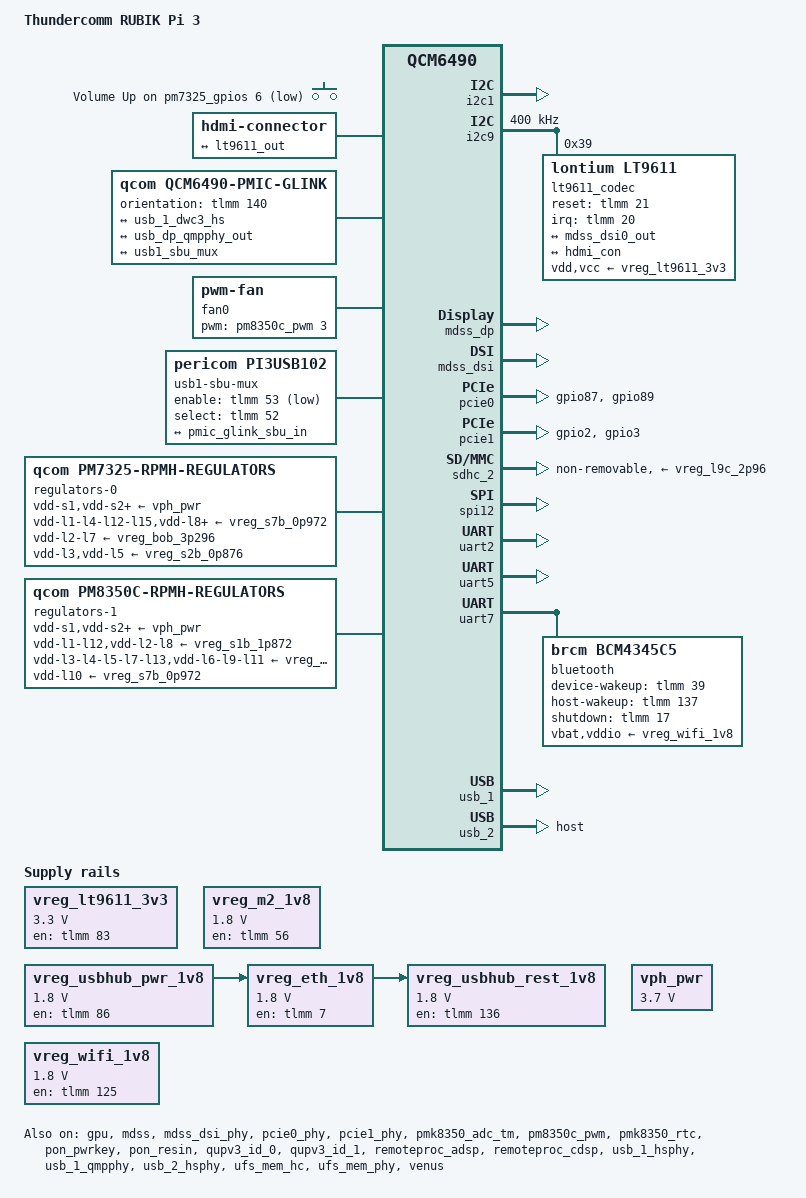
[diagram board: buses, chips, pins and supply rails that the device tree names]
// SPDX-License-Identifier: BSD-3-Clause
/*
 * Copyright (c) 2025, Thundercomm All rights reserved.
 */

/dts-v1/;

/* PM7250B is configured to use SID8/9 */
#define PM7250B_SID 8
#define PM7250B_SID1 9

#include <dt-bindings/iio/qcom,spmi-adc7-pmk8350.h>
#include <dt-bindings/iio/qcom,spmi-adc7-pm7325.h>
#include <dt-bindings/leds/common.h>
#include <dt-bindings/pinctrl/qcom,pmic-gpio.h>
#include <dt-bindings/regulator/qcom,rpmh-regulator.h>
#include "kodiak.dtsi"
#include "pm7250b.dtsi"
#include "pm7325.dtsi"
#include "pm8350c.dtsi" /* PM7350C */
#include "pmk8350.dtsi" /* PMK7325 */

/delete-node/ &adsp_mem;
/delete-node/ &cdsp_mem;
/delete-node/ &ipa_fw_mem;
/delete-node/ &mpss_mem;
/delete-node/ &remoteproc_mpss;
/delete-node/ &remoteproc_wpss;
/delete-node/ &rmtfs_mem;
/delete-node/ &video_mem;
/delete-node/ &wifi;
/delete-node/ &wlan_ce_mem;
/delete-node/ &wlan_fw_mem;
/delete-node/ &wpss_mem;
/delete-node/ &xbl_mem;

/ {
	model = "Thundercomm RUBIK Pi 3";
	compatible = "thundercomm,rubikpi3", "qcom,qcm6490";
	chassis-type = "embedded";

	aliases {
		serial0 = &uart5;
	};

	chosen {
		stdout-path = "serial0:115200n8";
	};

	gpio-keys {
		compatible = "gpio-keys";

		pinctrl-0 = <&kypd_vol_up_n>;
		pinctrl-names = "default";

		key-volume-up {
			label = "Volume Up";
			gpios = <&pm7325_gpios 6 GPIO_ACTIVE_LOW>;
			linux,code = <KEY_VOLUMEUP>;
			linux,can-disable;
		};
	};

	hdmi-connector {
		compatible = "hdmi-connector";
		type = "a";

		port {
			hdmi_con: endpoint {
				remote-endpoint = <&lt9611_out>;
			};
		};
	};

	pmic-glink {
		compatible = "qcom,qcm6490-pmic-glink", "qcom,pmic-glink";

		#address-cells = <1>;
		#size-cells = <0>;
		orientation-gpios = <&tlmm 140 GPIO_ACTIVE_HIGH>;

		connector@0 {
			compatible = "usb-c-connector";
			reg = <0>;
			power-role = "dual";
			data-role = "dual";

			ports {
				#address-cells = <1>;
				#size-cells = <0>;

				port@0 {
					reg = <0>;

					pmic_glink_hs_in: endpoint {
						remote-endpoint = <&usb_1_dwc3_hs>;
					};
				};

				port@1 {
					reg = <1>;

					pmic_glink_ss_in: endpoint {
						remote-endpoint = <&usb_dp_qmpphy_out>;
					};
				};

				port@2 {
					reg = <2>;

					pmic_glink_sbu_in: endpoint {
						remote-endpoint = <&usb1_sbu_mux>;
					};
				};
			};
		};
	};

	fan0: pwm-fan {
		compatible = "pwm-fan";

		/* cooling level (0, 1, 2, 3) : (0% duty, 25% duty, 50% duty, 100% duty) */
		cooling-levels = <0 64 128 255>;
		#cooling-cells = <2>;
		pwms = <&pm8350c_pwm 3 1000000>;

		pinctrl-0 = <&fan_pwm_out_default>;
		pinctrl-names = "default";
	};

	vreg_eth_1v8: regulator-eth-1v8 {
		compatible = "regulator-fixed";

		regulator-name = "vreg_eth_1v8";
		regulator-min-microvolt = <1800000>;
		regulator-max-microvolt = <1800000>;
		regulator-enable-ramp-delay = <50000>;

		gpio = <&tlmm 7 GPIO_ACTIVE_HIGH>;
		enable-active-high;

		pinctrl-0 = <&usb_eth_power>;
		pinctrl-names = "default";

		vin-supply = <&vreg_usbhub_pwr_1v8>;
	};

	vreg_lt9611_3v3: regulator-lt9611-3v3 {
		compatible = "regulator-fixed";

		regulator-name = "vreg_lt9611_3v3";
		regulator-min-microvolt = <3300000>;
		regulator-max-microvolt = <3300000>;

		gpio = <&tlmm 83 GPIO_ACTIVE_HIGH>;
		enable-active-high;

		pinctrl-0 = <&lt9611_vcc_pin>;
		pinctrl-names = "default";
	};

	vreg_m2_1v8: regulator-m2-1v8 {
		compatible = "regulator-fixed";

		regulator-name = "vreg_m2_1v8";
		regulator-min-microvolt = <1800000>;
		regulator-max-microvolt = <1800000>;
		regulator-enable-ramp-delay = <50000>;

		gpio = <&tlmm 56 GPIO_ACTIVE_HIGH>;
		enable-active-high;

		pinctrl-0 = <&m2_vcc_pin>;
		pinctrl-names = "default";

		regulator-always-on;
		regulator-boot-on;
	};

	vreg_usbhub_pwr_1v8: regulator-usbhub-pwr-1v8 {
		compatible = "regulator-fixed";

		regulator-name = "vreg_usbhub_pwr_1v8";
		regulator-min-microvolt = <1800000>;
		regulator-max-microvolt = <1800000>;
		regulator-enable-ramp-delay = <50000>;

		gpio = <&tlmm 86 GPIO_ACTIVE_HIGH>;
		enable-active-high;

		pinctrl-0 = <&usbhub_power>;
		pinctrl-names = "default";

		regulator-always-on;
	};

	vreg_usbhub_rest_1v8: regulator-usbhub-rest-1v8 {
		compatible = "regulator-fixed";

		regulator-name = "vreg_usbhub_rest_1v8";
		regulator-min-microvolt = <1800000>;
		regulator-enable-ramp-delay = <50000>;
		regulator-max-microvolt = <1800000>;

		gpio = <&tlmm 136 GPIO_ACTIVE_HIGH>;
		enable-active-high;

		pinctrl-0 = <&usbhub_rest>;
		pinctrl-names = "default";

		vin-supply = <&vreg_eth_1v8>;

		regulator-always-on;
		regulator-boot-on;
	};

	vph_pwr: regulator-vph-pwr {
		compatible = "regulator-fixed";

		regulator-name = "vph_pwr";
		regulator-min-microvolt = <3700000>;
		regulator-max-microvolt = <3700000>;
	};

	vreg_wifi_1v8: regulator-wifi-1v8 {
		compatible = "regulator-fixed";

		regulator-name = "vreg_wifi_1v8";
		regulator-min-microvolt = <1800000>;
		regulator-max-microvolt = <1800000>;
		regulator-enable-ramp-delay = <50000>;

		gpio = <&tlmm 125 GPIO_ACTIVE_HIGH>;
		enable-active-high;

		pinctrl-0 = <&wifi_reset_active>,
			    <&wifi_host_wake>,
			    <&wifi_power_on>;
		pinctrl-names = "default";

		regulator-always-on;
	};

	reserved-memory {
		xbl_mem: xbl@80700000 {
			reg = <0x0 0x80700000 0x0 0x100000>;
			no-map;
		};

		cdsp_secure_heap_mem: cdsp-secure-heap@81800000 {
			reg = <0x0 0x81800000 0x0 0x1e00000>;
			no-map;
		};

		camera_mem: camera@84300000 {
			reg = <0x0 0x84300000 0x0 0x500000>;
			no-map;
		};

		adsp_mem: adsp@86100000 {
			reg = <0x0 0x86100000 0x0 0x2800000>;
			no-map;
		};

		cdsp_mem: cdsp@88900000 {
			reg = <0x0 0x88900000 0x0 0x1e00000>;
			no-map;
		};

		video_mem: video@8a700000 {
			reg = <0x0 0x8a700000 0x0 0x700000>;
			no-map;
		};

		cvp_mem: cvp@8ae00000 {
			reg = <0x0 0x8ae00000 0x0 0x500000>;
			no-map;
		};

		gpu_microcode_mem: gpu-microcode@8b31a000 {
			reg = <0x0 0x8b31a000 0x0 0x2000>;
			no-map;
		};

		tz_stat_mem: tz-stat@c0000000 {
			reg = <0x0 0xc0000000 0x0 0x100000>;
			no-map;
		};

		tags_mem: tags@c0100000 {
			reg = <0x0 0xc0100000 0x0 0x1200000>;
			no-map;
		};

		qtee_mem: qtee@c1300000 {
			reg = <0x0 0xc1300000 0x0 0x500000>;
			no-map;
		};

		trusted_apps_mem: trusted-apps@c1800000 {
			reg = <0x0 0xc1800000 0x0 0x1c00000>;
			no-map;
		};

		debug_vm_mem: debug-vm@d0600000 {
			reg = <0x0 0xd0600000 0x0 0x100000>;
			no-map;
		};
	};

	thermal-zones {
		quiet-thermal {
			thermal-sensors = <&pmk8350_adc_tm 1>;

			trips {
				active-config0 {
					temperature = <125000>;
					hysteresis = <1000>;
					type = "passive";
				};
			};
		};

		sdm-skin-thermal {
			thermal-sensors = <&pmk8350_adc_tm 3>;

			trips {
				active-config0 {
					temperature = <125000>;
					hysteresis = <1000>;
					type = "passive";
				};
			};
		};

		xo-thermal {
			thermal-sensors = <&pmk8350_adc_tm 0>;

			trips {
				active-config0 {
					temperature = <125000>;
					hysteresis = <1000>;
					type = "passive";
				};
			};
		};
	};

	usb1-sbu-mux {
		compatible = "pericom,pi3usb102", "gpio-sbu-mux";

		enable-gpios = <&tlmm 53 GPIO_ACTIVE_LOW>;
		select-gpios = <&tlmm 52 GPIO_ACTIVE_HIGH>;

		pinctrl-0 = <&usb1_sbu_default>;
		pinctrl-names = "default";

		mode-switch;
		orientation-switch;

		port {
			usb1_sbu_mux: endpoint {
				remote-endpoint = <&pmic_glink_sbu_in>;
			};
		};
	};
};

&apps_rsc {
	regulators-0 {
		compatible = "qcom,pm7325-rpmh-regulators";
		qcom,pmic-id = "b";

		vdd-s1-supply = <&vph_pwr>;
		vdd-s2-supply = <&vph_pwr>;
		vdd-s3-supply = <&vph_pwr>;
		vdd-s4-supply = <&vph_pwr>;
		vdd-s5-supply = <&vph_pwr>;
		vdd-s6-supply = <&vph_pwr>;
		vdd-s7-supply = <&vph_pwr>;
		vdd-s8-supply = <&vph_pwr>;
		vdd-l1-l4-l12-l15-supply = <&vreg_s7b_0p972>;
		vdd-l2-l7-supply = <&vreg_bob_3p296>;
		vdd-l3-supply = <&vreg_s2b_0p876>;
		vdd-l5-supply = <&vreg_s2b_0p876>;
		vdd-l6-l9-l10-supply = <&vreg_s8b_1p272>;
		vdd-l8-supply = <&vreg_s7b_0p972>;
		vdd-l11-l17-l18-l19-supply = <&vreg_s1b_1p872>;
		vdd-l13-supply = <&vreg_s7b_0p972>;
		vdd-l14-l16-supply = <&vreg_s8b_1p272>;

		vreg_s1b_1p872: smps1 {
			regulator-name = "vreg_s1b_1p872";
			regulator-min-microvolt = <1840000>;
			regulator-max-microvolt = <2040000>;
		};

		vreg_s2b_0p876: smps2 {
			regulator-name = "vreg_s2b_0p876";
			regulator-min-microvolt = <570070>;
			regulator-max-microvolt = <1050000>;
		};

		vreg_s7b_0p972: smps7 {
			regulator-name = "vreg_s7b_0p972";
			regulator-min-microvolt = <535000>;
			regulator-max-microvolt = <1120000>;
		};

		vreg_s8b_1p272: smps8 {
			regulator-name = "vreg_s8b_1p272";
			regulator-min-microvolt = <1200000>;
			regulator-max-microvolt = <1500000>;
			regulator-initial-mode = <RPMH_REGULATOR_MODE_RET>;
		};

		vreg_l1b_0p912: ldo1 {
			regulator-name = "vreg_l1b_0p912";
			regulator-min-microvolt = <825000>;
			regulator-max-microvolt = <925000>;
			regulator-initial-mode = <RPMH_REGULATOR_MODE_HPM>;
		};

		vreg_l2b_3p072: ldo2 {
			regulator-name = "vreg_l2b_3p072";
			regulator-min-microvolt = <2700000>;
			regulator-max-microvolt = <3544000>;
			regulator-initial-mode = <RPMH_REGULATOR_MODE_HPM>;
		};

		vreg_l3b_0p504: ldo3 {
			regulator-name = "vreg_l3b_0p504";
			regulator-min-microvolt = <312000>;
			regulator-max-microvolt = <910000>;
			regulator-initial-mode = <RPMH_REGULATOR_MODE_HPM>;
		};

		vreg_l4b_0p752: ldo4 {
			regulator-name = "vreg_l4b_0p752";
			regulator-min-microvolt = <752000>;
			regulator-max-microvolt = <820000>;
			regulator-initial-mode = <RPMH_REGULATOR_MODE_HPM>;
		};

		reg_l5b_0p752: ldo5 {
			regulator-name = "reg_l5b_0p752";
			regulator-min-microvolt = <552000>;
			regulator-max-microvolt = <832000>;
			regulator-initial-mode = <RPMH_REGULATOR_MODE_HPM>;
		};

		vreg_l6b_1p2: ldo6 {
			regulator-name = "vreg_l6b_1p2";
			regulator-min-microvolt = <1140000>;
			regulator-max-microvolt = <1260000>;
			regulator-initial-mode = <RPMH_REGULATOR_MODE_HPM>;
		};

		vreg_l7b_2p952: ldo7 {
			regulator-name = "vreg_l7b_2p952";
			regulator-min-microvolt = <2952000>;
			regulator-max-microvolt = <2952000>;
			regulator-initial-mode = <RPMH_REGULATOR_MODE_HPM>;
		};

		vreg_l8b_0p904: ldo8 {
			regulator-name = "vreg_l8b_0p904";
			regulator-min-microvolt = <870000>;
			regulator-max-microvolt = <970000>;
			regulator-initial-mode = <RPMH_REGULATOR_MODE_HPM>;
		};

		vreg_l9b_1p2: ldo9 {
			regulator-name = "vreg_l9b_1p2";
			regulator-min-microvolt = <1200000>;
			regulator-max-microvolt = <1200000>;
			regulator-initial-mode = <RPMH_REGULATOR_MODE_HPM>;
			regulator-allow-set-load;
			regulator-allowed-modes = <RPMH_REGULATOR_MODE_LPM
						   RPMH_REGULATOR_MODE_HPM>;
		};

		vreg_l11b_1p504: ldo11 {
			regulator-name = "vreg_l11b_1p504";
			regulator-min-microvolt = <1504000>;
			regulator-max-microvolt = <2000000>;
			regulator-initial-mode = <RPMH_REGULATOR_MODE_HPM>;
		};

		vreg_l12b_0p751: ldo12 {
			regulator-name = "vreg_l12b_0p751";
			regulator-min-microvolt = <751000>;
			regulator-max-microvolt = <824000>;
			regulator-initial-mode = <RPMH_REGULATOR_MODE_HPM>;
		};

		vreg_l13b_0p53: ldo13 {
			regulator-name = "vreg_l13b_0p53";
			regulator-min-microvolt = <530000>;
			regulator-max-microvolt = <824000>;
			regulator-initial-mode = <RPMH_REGULATOR_MODE_HPM>;
		};

		vreg_l14b_1p08: ldo14 {
			regulator-name = "vreg_l14b_1p08";
			regulator-min-microvolt = <1080000>;
			regulator-max-microvolt = <1304000>;
			regulator-initial-mode = <RPMH_REGULATOR_MODE_HPM>;
		};

		vreg_l15b_0p765: ldo15 {
			regulator-name = "vreg_l15b_0p765";
			regulator-min-microvolt = <765000>;
			regulator-max-microvolt = <1020000>;
			regulator-initial-mode = <RPMH_REGULATOR_MODE_HPM>;
		};

		vreg_l16b_1p1: ldo16 {
			regulator-name = "vreg_l16b_1p1";
			regulator-min-microvolt = <1100000>;
			regulator-max-microvolt = <1300000>;
			regulator-initial-mode = <RPMH_REGULATOR_MODE_HPM>;
		};

		vreg_l17b_1p7: ldo17 {
			regulator-name = "vreg_l17b_1p7";
			regulator-min-microvolt = <1700000>;
			regulator-max-microvolt = <1900000>;
			regulator-initial-mode = <RPMH_REGULATOR_MODE_HPM>;
		};

		vreg_l18b_1p8: ldo18 {
			regulator-name = "vreg_l18b_1p8";
			regulator-min-microvolt = <1800000>;
			regulator-max-microvolt = <2000000>;
			regulator-initial-mode = <RPMH_REGULATOR_MODE_HPM>;
		};

		vreg_l19b_1p8: ldo19 {
			regulator-name = "vreg_l19b_1p8";
			regulator-min-microvolt = <1800000>;
			regulator-max-microvolt = <2000000>;
			regulator-initial-mode = <RPMH_REGULATOR_MODE_HPM>;
		};
	};

	regulators-1 {
		compatible = "qcom,pm8350c-rpmh-regulators";
		qcom,pmic-id = "c";

		vdd-s1-supply = <&vph_pwr>;
		vdd-s2-supply = <&vph_pwr>;
		vdd-s3-supply = <&vph_pwr>;
		vdd-s4-supply = <&vph_pwr>;
		vdd-s5-supply = <&vph_pwr>;
		vdd-s6-supply = <&vph_pwr>;
		vdd-s7-supply = <&vph_pwr>;
		vdd-s8-supply = <&vph_pwr>;
		vdd-s9-supply = <&vph_pwr>;
		vdd-s10-supply = <&vph_pwr>;
		vdd-l1-l12-supply = <&vreg_s1b_1p872>;
		vdd-l2-l8-supply = <&vreg_s1b_1p872>;
		vdd-l3-l4-l5-l7-l13-supply = <&vreg_bob_3p296>;
		vdd-l6-l9-l11-supply = <&vreg_bob_3p296>;
		vdd-l10-supply = <&vreg_s7b_0p972>;
		vdd-bob-supply = <&vph_pwr>;

		vreg_s1c_2p19: smps1 {
			regulator-name = "vreg_s1c_2p19";
			regulator-min-microvolt = <2190000>;
			regulator-max-microvolt = <2210000>;
		};

		vreg_s2c_0p752: smps2 {
			regulator-name = "vreg_s2c_0p752";
			regulator-min-microvolt = <750000>;
			regulator-max-microvolt = <800000>;
		};

		vreg_s5c_0p752: smps5 {
			regulator-name = "vreg_s5c_0p752";
			regulator-min-microvolt = <465000>;
			regulator-max-microvolt = <1050000>;
		};

		vreg_s7c_0p752: smps7 {
			regulator-name = "vreg_s7c_0p752";
			regulator-min-microvolt = <465000>;
			regulator-max-microvolt = <800000>;
		};

		vreg_s9c_1p084: smps9 {
			regulator-name = "vreg_s9c_1p084";
			regulator-min-microvolt = <1010000>;
			regulator-max-microvolt = <1170000>;
		};

		vreg_l1c_1p8: ldo1 {
			regulator-name = "vreg_l1c_1p8";
			regulator-min-microvolt = <1800000>;
			regulator-max-microvolt = <1980000>;
			regulator-initial-mode = <RPMH_REGULATOR_MODE_HPM>;
		};

		vreg_l2c_1p62: ldo2 {
			regulator-name = "vreg_l2c_1p62";
			regulator-min-microvolt = <1620000>;
			regulator-max-microvolt = <1980000>;
			regulator-initial-mode = <RPMH_REGULATOR_MODE_HPM>;
		};

		vreg_l3c_2p8: ldo3 {
			regulator-name = "vreg_l3c_2p8";
			regulator-min-microvolt = <2800000>;
			regulator-max-microvolt = <3540000>;
			regulator-initial-mode = <RPMH_REGULATOR_MODE_HPM>;
		};

		vreg_l4c_1p62: ldo4 {
			regulator-name = "vreg_l4c_1p62";
			regulator-min-microvolt = <1620000>;
			regulator-max-microvolt = <3300000>;
			regulator-initial-mode = <RPMH_REGULATOR_MODE_HPM>;
		};

		vreg_l5c_1p62: ldo5 {
			regulator-name = "vreg_l5c_1p62";
			regulator-min-microvolt = <1620000>;
			regulator-max-microvolt = <3300000>;
			regulator-initial-mode = <RPMH_REGULATOR_MODE_HPM>;
		};

		vreg_l6c_2p96: ldo6 {
			regulator-name = "vreg_l6c_2p96";
			regulator-min-microvolt = <1800000>;
			regulator-max-microvolt = <1800000>;
			regulator-initial-mode = <RPMH_REGULATOR_MODE_HPM>;
		};

		vreg_l7c_3p0: ldo7 {
			regulator-name = "vreg_l7c_3p0";
			regulator-min-microvolt = <3000000>;
			regulator-max-microvolt = <3544000>;
			regulator-initial-mode = <RPMH_REGULATOR_MODE_HPM>;
		};

		vreg_l8c_1p62: ldo8 {
			regulator-name = "vreg_l8c_1p62";
			regulator-min-microvolt = <1620000>;
			regulator-max-microvolt = <2000000>;
			regulator-initial-mode = <RPMH_REGULATOR_MODE_HPM>;
		};

		vreg_l9c_2p96: ldo9 {
			regulator-name = "vreg_l9c_2p96";
			regulator-min-microvolt = <2700000>;
			regulator-max-microvolt = <3544000>;
			regulator-initial-mode = <RPMH_REGULATOR_MODE_HPM>;
		};

		vreg_l10c_0p88: ldo10 {
			regulator-name = "vreg_l10c_0p88";
			regulator-min-microvolt = <720000>;
			regulator-max-microvolt = <1050000>;
			regulator-initial-mode = <RPMH_REGULATOR_MODE_HPM>;
		};

		vreg_l11c_2p8: ldo11 {
			regulator-name = "vreg_l11c_2p8";
			regulator-min-microvolt = <2800000>;
			regulator-max-microvolt = <3544000>;
			regulator-initial-mode = <RPMH_REGULATOR_MODE_HPM>;
		};

		vreg_l12c_1p65: ldo12 {
			regulator-name = "vreg_l12c_1p65";
			regulator-min-microvolt = <1650000>;
			regulator-max-microvolt = <2000000>;
			regulator-initial-mode = <RPMH_REGULATOR_MODE_HPM>;
		};

		vreg_l13c_2p7: ldo13 {
			regulator-name = "vreg_l13c_2p7";
			regulator-min-microvolt = <2700000>;
			regulator-max-microvolt = <3544000>;
			regulator-initial-mode = <RPMH_REGULATOR_MODE_HPM>;
		};

		vreg_bob_3p296: bob {
			regulator-name = "vreg_bob_3p296";
			regulator-min-microvolt = <3008000>;
			regulator-max-microvolt = <3960000>;
		};
	};
};

&gcc {
	protected-clocks = <GCC_CFG_NOC_LPASS_CLK>,
			   <GCC_MSS_CFG_AHB_CLK>,
			   <GCC_MSS_GPLL0_MAIN_DIV_CLK_SRC>,
			   <GCC_MSS_OFFLINE_AXI_CLK>,
			   <GCC_MSS_Q6SS_BOOT_CLK_SRC>,
			   <GCC_MSS_Q6_MEMNOC_AXI_CLK>,
			   <GCC_MSS_SNOC_AXI_CLK>,
			   <GCC_QSPI_CNOC_PERIPH_AHB_CLK>,
			   <GCC_QSPI_CORE_CLK>,
			   <GCC_QSPI_CORE_CLK_SRC>,
			   <GCC_SEC_CTRL_CLK_SRC>,
			   <GCC_WPSS_AHB_BDG_MST_CLK>,
			   <GCC_WPSS_AHB_CLK>,
			   <GCC_WPSS_RSCP_CLK>;
};

&gpi_dma0 {
	status = "okay";
};

&gpi_dma1 {
	status = "okay";
};

&gpu {
	status = "okay";
};

&gpu_zap_shader {
	firmware-name = "qcom/qcs6490/a660_zap.mbn";
};

/* Pin 3, 5 in 40-pin connector */
&i2c1 {
	status = "okay";
};

&i2c9 {
	clock-frequency = <400000>;

	status = "okay";

	lt9611_codec: hdmi-bridge@39 {
		compatible = "lontium,lt9611";
		reg = <0x39>;

		interrupts-extended = <&tlmm 20 IRQ_TYPE_EDGE_FALLING>;
		reset-gpios = <&tlmm 21 GPIO_ACTIVE_HIGH>;

		vdd-supply = <&vreg_lt9611_3v3>;
		vcc-supply = <&vreg_lt9611_3v3>;

		pinctrl-0 = <&lt9611_irq_pin>,
			    <&lt9611_rst_pin>;
		pinctrl-names = "default";

		ports {
			#address-cells = <1>;
			#size-cells = <0>;

			port@0 {
				reg = <0>;

				lt9611_a: endpoint {
					remote-endpoint = <&mdss_dsi0_out>;
				};
			};

			port@2 {
				reg = <2>;

				lt9611_out: endpoint {
					remote-endpoint = <&hdmi_con>;
				};
			};
		};
	};
};

&lpass_audiocc {
	compatible = "qcom,qcm6490-lpassaudiocc";
	/delete-property/ power-domains;
};

&mdss {
	status = "okay";
};

&mdss_dp {
	status = "okay";
};

&mdss_dp_out {
	data-lanes = <0 1>;
	link-frequencies = /bits/ 64 <1620000000 2700000000 5400000000 8100000000>;

	remote-endpoint = <&usb_dp_qmpphy_dp_in>;
};

&mdss_dsi {
	vdda-supply = <&vreg_l6b_1p2>;

	status = "okay";
};

&mdss_dsi0_out {
	remote-endpoint = <&lt9611_a>;
	data-lanes = <0 1 2 3>;
};

&mdss_dsi_phy {
	vdds-supply = <&vreg_l10c_0p88>;

	status = "okay";
};

&pcie0 {
	perst-gpios = <&tlmm 87 GPIO_ACTIVE_LOW>;
	wake-gpios = <&tlmm 89 GPIO_ACTIVE_HIGH>;

	pinctrl-0 = <&pcie0_clkreq_n>,
		    <&pcie0_reset_n>,
		    <&pcie0_wake_n>;
	pinctrl-names = "default";

	status = "okay";
};

&pcie0_phy {
	vdda-phy-supply = <&vreg_l10c_0p88>;
	vdda-pll-supply = <&vreg_l6b_1p2>;

	status = "okay";
};

&pcie1 {
	perst-gpios = <&tlmm 2 GPIO_ACTIVE_LOW>;
	wake-gpios = <&tlmm 3 GPIO_ACTIVE_LOW>;

	pinctrl-0 = <&pcie1_clkreq_n>,
		    <&pcie1_reset_n>,
		    <&pcie1_wake_n>;
	pinctrl-names = "default";

	status = "okay";
};

&pcie1_phy {
	vdda-phy-supply = <&vreg_l10c_0p88>;
	vdda-pll-supply = <&vreg_l6b_1p2>;

	status = "okay";
};

&pm7325_gpios {
	kypd_vol_up_n: kypd-vol-up-n-state {
		pins = "gpio6";
		function = PMIC_GPIO_FUNC_NORMAL;
		power-source = <1>;
		bias-pull-up;
		input-enable;
	};
};

&pm7325_temp_alarm {
	io-channels = <&pmk8350_vadc PM7325_ADC7_DIE_TEMP>;
	io-channel-names = "thermal";
};

&pmk8350_adc_tm {
	status = "okay";

	xo-therm@0 {
		reg = <0>;
		io-channels = <&pmk8350_vadc PMK8350_ADC7_AMUX_THM1_100K_PU>;
		qcom,ratiometric;
		qcom,hw-settle-time-us = <200>;
	};

	quiet-therm@1 {
		reg = <1>;
		io-channels = <&pmk8350_vadc PM7325_ADC7_AMUX_THM1_100K_PU>;
		qcom,ratiometric;
		qcom,hw-settle-time-us = <200>;
	};

	sdm-skin-therm@3 {
		reg = <3>;
		io-channels = <&pmk8350_vadc PM7325_ADC7_AMUX_THM3_100K_PU>;
		qcom,ratiometric;
		qcom,hw-settle-time-us = <200>;
	};
};

&pm8350c_pwm {
	status = "okay";

	multi-led {
		color = <LED_COLOR_ID_RGB>;
		function = LED_FUNCTION_INDICATOR;

		#address-cells = <1>;
		#size-cells = <0>;

		led@1 {
			reg = <1>;
			color = <LED_COLOR_ID_RED>;
		};

		led@2 {
			reg = <2>;
			color = <LED_COLOR_ID_GREEN>;
		};

		led@3 {
			reg = <3>;
			color = <LED_COLOR_ID_BLUE>;
		};
	};
};

&pmk8350_rtc {
	allow-set-time;

	status = "okay";
};

&pmk8350_vadc {
	channel@3 {
		reg = <PMK8350_ADC7_DIE_TEMP>;
		label = "pmk8350_die_temp";
		qcom,pre-scaling = <1 1>;
	};

	channel@44 {
		reg = <PMK8350_ADC7_AMUX_THM1_100K_PU>;
		label = "xo_therm";
		qcom,hw-settle-time = <200>;
		qcom,pre-scaling = <1 1>;
		qcom,ratiometric;
	};

	channel@103 {
		reg = <PM7325_ADC7_DIE_TEMP>;
		label = "pm7325_die_temp";
		qcom,pre-scaling = <1 1>;
	};

	channel@144 {
		reg = <PM7325_ADC7_AMUX_THM1_100K_PU>;
		qcom,ratiometric;
		qcom,hw-settle-time = <200>;
		qcom,pre-scaling = <1 1>;
		label = "pm7325_quiet_therm";
	};

	channel@146 {
		reg = <PM7325_ADC7_AMUX_THM3_100K_PU>;
		qcom,ratiometric;
		qcom,hw-settle-time = <200>;
		qcom,pre-scaling = <1 1>;
		label = "pm7325_sdm_skin_therm";
	};
};

&pon_pwrkey {
	status = "okay";
};

&pon_resin {
	linux,code = <KEY_VOLUMEDOWN>;

	status = "okay";
};

&qupv3_id_0 {
	firmware-name = "qcom/qcm6490/qupv3fw.elf";

	status = "okay";
};

&qupv3_id_1 {
	firmware-name = "qcom/qcm6490/qupv3fw.elf";

	status = "okay";
};

&remoteproc_adsp {
	firmware-name = "qcom/qcs6490/Thundercomm/RubikPi3/adsp.mbn";

	status = "okay";
};

&remoteproc_cdsp {
	firmware-name = "qcom/qcs6490/cdsp.mbn";

	status = "okay";
};

/* WIFI part of the AP6256 connected with SDIO */
&sdhc_2 {
	vmmc-supply = <&vreg_l9c_2p96>;
	vqmmc-supply = <&vreg_l6c_2p96>;

	non-removable;
	keep-power-in-suspend;
	/delete-property/ cd-gpios;

	status = "okay";
};

/* Pin 19, 21, 23, 24 in 40-pin connector */
&spi12 {
	status = "okay";
};

&thermal_zones {
	cpu0-thermal {
		trips {
			cpu_tepid: cpu-tepid {
				temperature = <65000>;
				hysteresis = <5000>;
				type = "active";
			};

			cpu_warm: cpu-warm {
				temperature = <80000>;
				hysteresis = <5000>;
				type = "active";
			};
		};

		cooling-maps {
			map-cpu-tepid {
				cooling-device = <&fan0 1 1>;
				trip = <&cpu_tepid>;
			};

			map-cpu-warm {
				cooling-device = <&fan0 2 2>;
				trip = <&cpu_warm>;
			};

			map-cpu-hot {
				cooling-device = <&fan0 3 3>;
				trip = <&cpu0_alert0>;
			};
		};
	};
};

/* Pin 8, 10 in 40-pin connector */
&uart2 {
	status = "okay";
};

&uart5 {
	status = "okay";
};

/* BT part of the AP6256 connected with UART */
&uart7 {
	/delete-property/ interrupts;
	interrupts-extended = <&intc GIC_SPI 608 IRQ_TYPE_LEVEL_HIGH>,
			      <&tlmm 31 IRQ_TYPE_EDGE_FALLING>;
	pinctrl-1 = <&qup_uart7_sleep_cts>,
		    <&qup_uart7_sleep_rts>,
		    <&qup_uart7_sleep_tx>,
		    <&qup_uart7_sleep_rx>;
	pinctrl-names = "default",
			"sleep";

	status = "okay";

	bluetooth {
		compatible = "brcm,bcm4345c5";
		clocks = <&sleep_clk>;
		clock-names = "lpo";
		device-wakeup-gpios = <&tlmm 39 GPIO_ACTIVE_HIGH>;
		host-wakeup-gpios = <&tlmm 137 GPIO_ACTIVE_HIGH>;
		shutdown-gpios = <&tlmm 17 GPIO_ACTIVE_HIGH>;
		pinctrl-0 = <&bt_device_wake>,
			    <&bt_host_wake>,
			    <&bt_reset>;
		pinctrl-names = "default";
		vbat-supply = <&vreg_wifi_1v8>;
		vddio-supply = <&vreg_wifi_1v8>;
		max-speed = <3000000>;
	};
};

&usb_1 {
	status = "okay";
};

&usb_1_dwc3_hs {
	remote-endpoint = <&pmic_glink_hs_in>;
};

&usb_1_hsphy {
	vdda-pll-supply = <&vreg_l10c_0p88>;
	vdda33-supply = <&vreg_l2b_3p072>;
	vdda18-supply = <&vreg_l1c_1p8>;

	status = "okay";
};

&usb_1_qmpphy {
	vdda-phy-supply = <&vreg_l6b_1p2>;
	vdda-pll-supply = <&vreg_l1b_0p912>;

	status = "okay";
};

&usb_2 {
	dr_mode = "host";

	status = "okay";
};

&usb_2_hsphy {
	vdda-pll-supply = <&vreg_l10c_0p88>;
	vdda18-supply = <&vreg_l1c_1p8>;
	vdda33-supply = <&vreg_l2b_3p072>;

	status = "okay";
};

&usb_dp_qmpphy_out {
	remote-endpoint = <&pmic_glink_ss_in>;
};

&ufs_mem_hc {
	reset-gpios = <&tlmm 175 GPIO_ACTIVE_LOW>;
	vcc-supply = <&vreg_l7b_2p952>;
	vcc-max-microamp = <800000>;
	vccq-supply = <&vreg_l9b_1p2>;
	vccq-max-microamp = <900000>;
	vccq2-supply = <&vreg_l9b_1p2>;
	vccq2-max-microamp = <900000>;

	status = "okay";
};

&ufs_mem_phy {
	vdda-phy-supply = <&vreg_l10c_0p88>;
	vdda-pll-supply = <&vreg_l6b_1p2>;

	status = "okay";
};

&venus {
	status = "okay";
};

/* PINCTRL - additions to nodes defined in kodiak.dtsi */
&pcie0_clkreq_n {
	bias-pull-up;
	drive-strength = <8>;
};

&pcie1_clkreq_n {
	bias-pull-up;
	drive-strength = <8>;
};

&pm8350c_gpios {
	fan_pwm_out_default: fan-pwm-out-default-state {
		pins = "gpio8";
		function = "func1";
		power-source = <1>;
		drive-push-pull;
		output-high;
		qcom,drive-strength = <PMIC_GPIO_STRENGTH_LOW>;
	};
};

&qup_uart7_cts {
	/*
	 * Configure a bias-bus-hold on CTS to lower power
	 * usage when Bluetooth is turned off. Bus hold will
	 * maintain a low power state regardless of whether
	 * the Bluetooth module drives the pin in either
	 * direction or leaves the pin fully unpowered.
	 */
	bias-bus-hold;
};

&qup_uart7_rts {
	/* We'll drive RTS, so no pull */
	bias-disable;
	drive-strength = <2>;
};

&qup_uart7_rx {
	/*
	 * Configure a pull-up on RX. This is needed to avoid
	 * garbage data when the TX pin of the Bluetooth module is
	 * in tri-state (module powered off or not driving the
	 * signal yet).
	 */
	bias-pull-up;
};

&qup_uart7_tx {
	/* We'll drive TX, so no pull */
	bias-disable;
	drive-strength = <2>;
};

&sdc2_clk {
	bias-disable;
	drive-strength = <16>;
};

&sdc2_cmd {
	bias-pull-up;
	drive-strength = <10>;
};

&sdc2_data {
	bias-pull-up;
	drive-strength = <10>;
};

&tlmm {
	pcie1_reset_n: pcie1-reset-n-state {
		pins = "gpio2";
		function = "gpio";
		drive-strength = <8>;
		output-low;
		bias-disable;
	};

	pcie1_wake_n: pcie1-wake-n-state {
		pins = "gpio3";
		function = "gpio";
		drive-strength = <8>;
		bias-pull-up;
	};

	usb_eth_power: usb-eth-power-state {
		pins = "gpio7";
		function = "gpio";
		drive-strength = <8>;
		bias-disable;
	};

	wifi_reset_active: wifi-reset-active-state {
		pins = "gpio16";
		function = "gpio";
		drive-strength = <8>;
		output-high;
		bias-disable;
	};

	bt_reset: bt-reset-state {
		pins = "gpio17";
		function = "gpio";
		drive-strength = <8>;
		bias-disable;
	};

	lt9611_irq_pin: lt9611-irq-state {
		pins = "gpio20";
		function = "gpio";
		drive-strength = <8>;
		bias-disable;
	};

	lt9611_rst_pin: lt9611-rst-state {
		pins = "gpio21";
		function = "gpio";
		drive-strength = <8>;
		output-high;
		input-disable;
	};

	qup_uart7_sleep_cts: qup-uart7-sleep-cts-state {
		pins = "gpio28";
		function = "gpio";
		/*
		 * Configure a bias-bus-hold on CTS to lower power
		 * usage when Bluetooth is turned off. Bus hold will
		 * maintain a low power state regardless of whether
		 * the Bluetooth module drives the pin in either
		 * direction or leaves the pin fully unpowered.
		 */
		bias-bus-hold;
	};

	qup_uart7_sleep_rts: qup-uart7-sleep-rts-state {
		pins = "gpio29";
		function = "gpio";
		/*
		 * Configure pull-down on RTS. As RTS is active low
		 * signal, pull it low to indicate the BT SoC that it
		 * can wakeup the system anytime from suspend state by
		 * pulling RX low (by sending wakeup bytes).
		 */
		bias-pull-down;
	};

	qup_uart7_sleep_tx: qup-uart7-sleep-tx-state {
		pins = "gpio30";
		function = "gpio";
		/*
		 * Configure pull-up on TX when it isn't actively driven
		 * to prevent BT SoC from receiving garbage during sleep.
		 */
		bias-pull-up;
	};

	qup_uart7_sleep_rx: qup-uart7-sleep-rx-state {
		pins = "gpio31";
		function = "gpio";
		/*
		 * Configure a pull-up on RX. This is needed to avoid
		 * garbage data when the TX pin of the Bluetooth module
		 * is floating which may cause spurious wakeups.
		 */
		bias-pull-up;
	};

	wifi_host_wake: wifi-host-wake-state {
		pins = "gpio38";
		function = "gpio";
		drive-strength = <8>;
		bias-disable;
	};

	bt_device_wake: bt-device-wake-state {
		pins = "gpio39";
		function = "gpio";
		drive-strength = <8>;
		bias-disable;
	};

	usb1_sbu_default: usb1-sbu-state {
		sel-pins {
			pins = "gpio52";
			function = "gpio";
			drive-strength = <8>;
			bias-disable;
		};

		oe-n-pins {
			pins = "gpio53";
			function = "gpio";
			drive-strength = <8>;
			output-high;
			bias-disable;
		};
	};

	m2_vcc_pin: m2-vcc-state {
		pins = "gpio56";
		function = "gpio";
		drive-strength = <8>;
		output-high;
		input-disable;
	};

	lt9611_vcc_pin: lt9611-vcc-pin-state {
		pins = "gpio83";
		function = "gpio";
		drive-strength = <8>;
		output-high;
		input-disable;
	};

	usbhub_power: usbhub-power-state {
		pins = "gpio86";
		function = "gpio";
		drive-strength = <8>;
		bias-disable;
	};

	pcie0_reset_n: pcie0-reset-n-state {
		pins = "gpio87";
		function = "gpio";
		drive-strength = <8>;
		bias-disable;
	};

	pcie0_wake_n: pcie0-wake-n-state {
		pins = "gpio89";
		function = "gpio";
		drive-strength = <8>;
		bias-pull-up;
	};

	wifi_power_on: wifi-power-on-state {
		pins = "gpio125";
		function = "gpio";
		drive-strength = <8>;
		bias-disable;
	};

	usbhub_rest: usbhub-reset-state {
		pins = "gpio136";
		function = "gpio";
		drive-strength = <8>;
		bias-disable;
	};

	bt_host_wake: bt-host-wake-state {
		pins = "gpio137";
		function = "gpio";
		drive-strength = <8>;
		bias-disable;
	};
};
